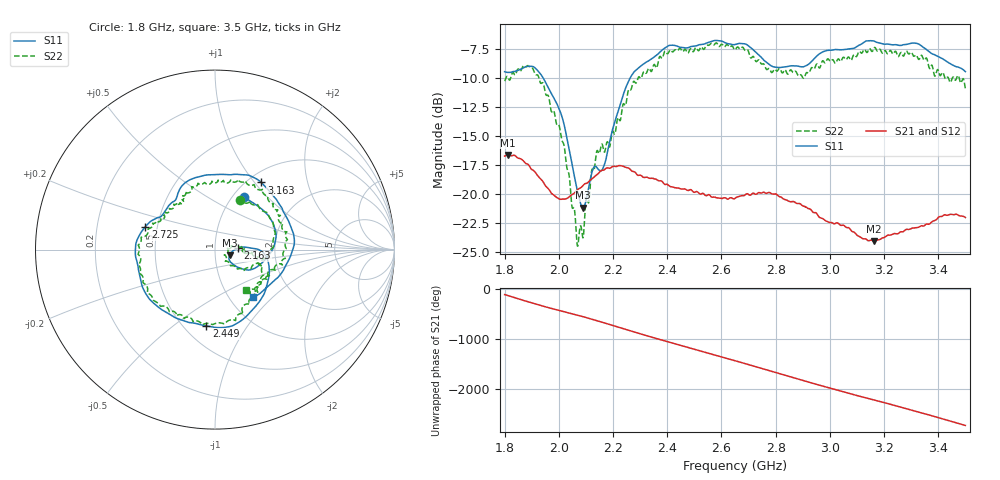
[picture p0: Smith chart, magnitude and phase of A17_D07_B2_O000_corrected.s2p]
! Created with skrf 1.9.0 (http://scikit-rf.org).
# Hz S RI R 50.0
!freq ReS11 ImS11 ReS21 ImS21 ReS12 ImS12 ReS22 ImS22
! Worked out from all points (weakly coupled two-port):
!   1601 points, 1.8 GHz to 3.5 GHz, reference 50 ohm
!   highest |S21| = -16.63 dB at 1.812 GHz (marker M1); lowest = -24.0 dB at 3.163 GHz (marker M2)
!   lowest |S11| = -21.2 dB at 2.09 GHz (marker M3), VSWR 1.19, Z = 58.7 - j3.8 ohm
!   |S11| at or under -10 dB: 1.942 GHz to 2.264 GHz (321.5 MHz wide, 15.3 % of centre)
!   |S22| runs from -24.5 to -7.0 dB; largest |S21 - S12| = 0.0028
!   S11 on the Smith chart (normalised r, x): 1.8 GHz: 1.12, +0.75; 2.163 GHz: 1.30, +0.02; 2.449 GHz: 0.64, -0.66; 2.725 GHz: 0.43, +0.13; 3.163 GHz: 1.15, +1.09; 3.5 GHz: 1.28, -0.76
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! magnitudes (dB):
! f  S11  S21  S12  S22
! 1.8 GHz  -9.5  -16.7  -16.7  -10.3
! 1.812 GHz  -9.5  -16.6  -16.6  -9.9
! 1.887 GHz  -9.0  -17.5  -17.5  -9.0
! 1.941 GHz  -10.0  -18.9  -18.9  -10.4
! 2.011 GHz  -13.3  -20.4  -20.4  -15.4
! 2.067 GHz  -19.5  -19.7  -19.7  -24.1
! 2.084 GHz  -21.0  -19.4  -19.4  -23.0
! 2.09 GHz  -21.2  -19.2  -19.3  -23.7
! 2.127 GHz  -17.8  -18.6  -18.6  -18.0
! 2.163 GHz  -17.8  -18.0  -17.9  -16.0
! 2.189 GHz  -15.4  -17.8  -17.8  -15.9
! 2.259 GHz  -10.2  -17.8  -17.8  -11.0
! 2.367 GHz  -7.9  -18.8  -18.8  -8.5
! 2.449 GHz  -7.4  -19.6  -19.6  -7.5
! 2.65 GHz  -7.1  -20.4  -20.3  -7.6
! 2.725 GHz  -7.8  -20.0  -20.0  -8.5
! 2.799 GHz  -9.1  -20.0  -20.0  -9.3
! 2.934 GHz  -8.6  -21.5  -21.4  -9.1
! 3.163 GHz  -6.8  -24.0  -24.0  -7.5
! 3.217 GHz  -7.1  -23.5  -23.5  -7.8
! 3.324 GHz  -7.1  -22.9  -22.9  -8.3
! 3.5 GHz  -9.5  -22.0  -22.0  -10.9
